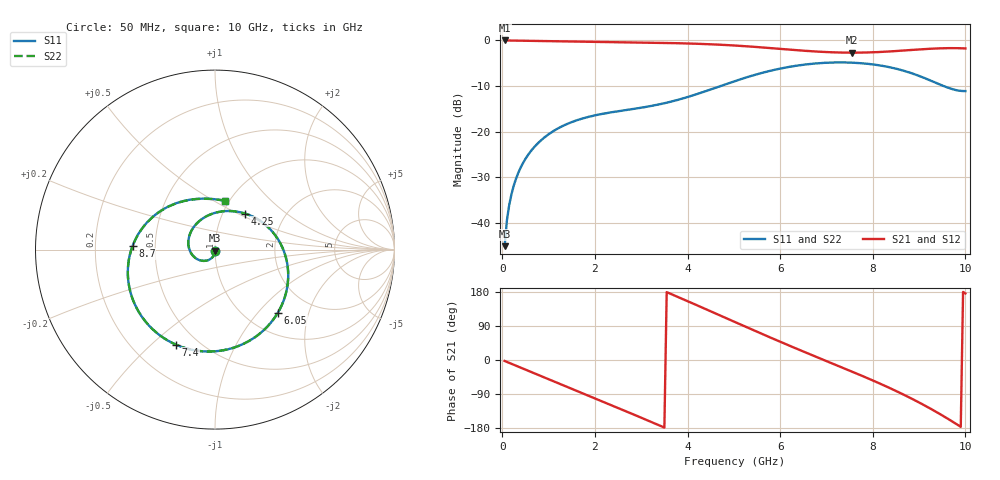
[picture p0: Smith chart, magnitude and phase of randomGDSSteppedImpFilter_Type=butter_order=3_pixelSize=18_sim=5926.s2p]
! freq	dB(S11)	phase(S11)	dB(S12)	phase(S12)
!  dB(S21)	phase(S21)	dB(S22)	phase(S22)
!S-par simulation data
#  GHz  S  DB  R 50
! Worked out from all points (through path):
!   200 points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, 50 MHz to 10 GHz, reference 50 ohm
!   highest |S21| = -0.01 dB at 50 MHz (marker M1); lowest = -2.7 dB at 7.55 GHz (marker M2)
!   group delay of S21, straight-line fit = 147 ps
!   lowest |S11| = -45.2 dB at 50 MHz (marker M3), VSWR 1.01, Z = 50 - j0.552 ohm
!   |S11| at or under -10 dB: start of sweep to 4.717 GHz; 9.525 GHz to end of sweep
!   |S22| runs from -45.2 to -4.8 dB; largest |S21 - S12| = 0
!   S11 on the Smith chart (normalised r, x): 50 MHz: 1.00, -0.01; 4.25 GHz: 1.27, +0.55; 6.05 GHz: 1.38, -1.29; 7.4 GHz: 0.38, -0.60; 8.7 GHz: 0.37, +0.02; 10 GHz: 0.96, +0.57
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0.05  -45.16 -87.4  -0.01 -2.5  -0.01 -2.5  -45.23 -87.6
0.1  -39.44 -88.8  -0.02 -5.1  -0.02 -5.1  -39.46 -88.9
0.2  -33.67 -94.4  -0.03 -10.2  -0.03 -10.2  -33.67 -94.4
0.5  -26.00 -111.3  -0.08 -25.4  -0.08 -25.4  -26.00 -111.3
1.15  -19.62 -145.7  -0.19 -58.2  -0.19 -58.2  -19.62 -145.7
1.75  -17.09 -177.0  -0.28 -88.5  -0.28 -88.5  -17.09 -177.1
2.5  -15.55 143.7  -0.39 -126.5  -0.39 -126.5  -15.55 143.6
2.95  -14.86 119.9  -0.45 -149.7  -0.45 -149.7  -14.85 119.7
3.4  -14.02 95.8  -0.53 -173.0  -0.53 -173.0  -14.01 95.6
3.8  -13.02 74.2  -0.62 165.9  -0.62 165.9  -13.02 74.0
4.25  -11.63 50.0  -0.76 141.9  -0.76 141.9  -11.63 49.8
5.05  -8.84 7.2  -1.14 98.8  -1.14 98.8  -8.84 7.1
5.5  -7.43 -16.6  -1.46 74.7  -1.46 74.7  -7.43 -16.7
6.05  -6.09 -45.1  -1.90 45.6  -1.90 45.6  -6.08 -45.2
6.7  -5.12 -77.8  -2.40 12.3  -2.40 12.3  -5.12 -77.8
7.4  -4.84 -112.5  -2.68 -23.0  -2.68 -23.0  -4.84 -112.4
7.55  -4.89 -120.0  -2.69 -30.6  -2.69 -30.6  -4.89 -119.9
8.35  -5.86 -162.1  -2.44 -73.1  -2.44 -73.1  -5.86 -162.0
8.7  -6.75 177.3  -2.20 -93.4  -2.20 -93.4  -6.75 177.5
9.3  -9.04 137.0  -1.81 -132.1  -1.81 -132.1  -9.04 137.4
9.7  -10.64 105.1  -1.70 -160.9  -1.70 -160.9  -10.64 105.6
10  -11.12 78.0  -1.77 175.6  -1.77 175.6  -11.13 78.9
